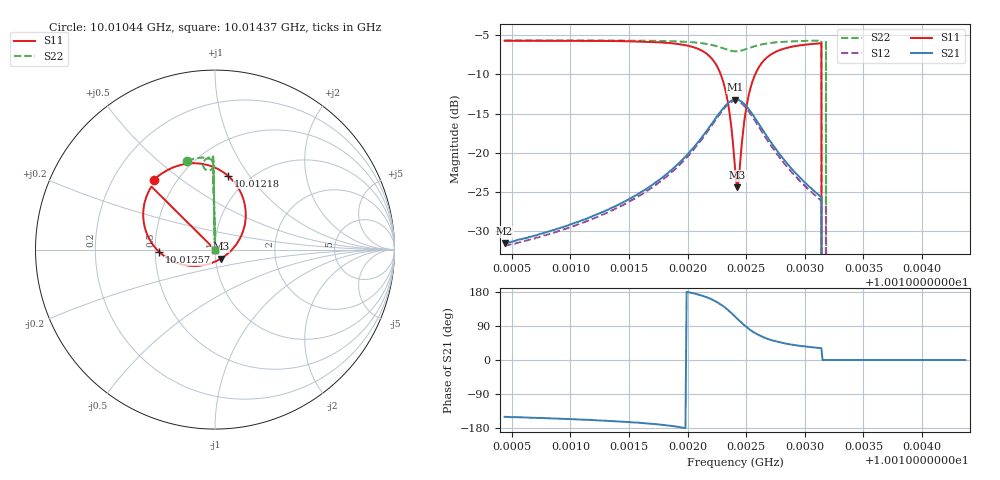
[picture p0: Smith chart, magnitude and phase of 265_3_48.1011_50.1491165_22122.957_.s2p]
#  HZ  S  RI  R  50.00
! Rohde & Schwarz Vector Network Analyzer
! Rohde-Schwarz,ZNB20-2Port,1311601062101988,3.16
! Created: UTC 12/23/2023, 4:01:12 AM
! freq[Hz]  re:S11  im:S11  re:S21  im:S21  re:S12  im:S12  re:S22  im:S22
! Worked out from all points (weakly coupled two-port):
!   401 points, 10.01044 GHz to 10.01437 GHz, reference 50 ohm
!   highest |S21| = -13.21 dB at 10.0124 GHz (marker M1); lowest = -31.5 dB at 10.01044 GHz (marker M2)
!   lowest |S11| = -24.4 dB at 10.01242 GHz (marker M3), VSWR 1.13, Z = 53.1 - j5.42 ohm
!   |S11| at or under -10 dB: 10.01228 GHz to 10.01258 GHz (294.5 kHz wide, 0.00294 % of centre); 10.01314 GHz to end of sweep
!   |S22| runs from - to -5.7 dB; largest |S21 - S12| = 0.047
!   S11 on the Smith chart (normalised r, x): 10.01044 GHz: 0.38, +0.40; 10.01218 GHz: 0.80, +0.80; 10.01257 GHz: 0.53, -0.02; 10.01437 GHz: 1.00, +0.00
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1.0010439e10  -0.3408 0.3897  -0.0229 -0.0134  -0.0213 -0.0139  -0.155 0.4957
1.0011098e10  -0.2838 0.432  -0.0343 -0.0142  -0.0322 -0.0154  -0.1107 0.5074
1.0011756e10  -0.1695 0.4764  -0.0661 -0.0115  -0.0632 -0.0143  -0.0588 0.5127
1.0012031e10  -0.048 0.473  -0.1039 0.00475  -0.1004 -0.000779  -0.0302 0.5061
1.0012179e10  0.0712 0.4121  -0.1374 0.0401  -0.1358 0.0316  -0.0124 0.4915
1.0012316e10  0.1713 0.1984  -0.1493 0.1288  -0.152 0.1199  -0.00874 0.4595
1.0012365e10  0.1451 0.0745  -0.1256 0.172  -0.1306 0.1631  -0.0187 0.447
1.0012405e10  0.0788 -0.0162  -0.0913 0.1985  -0.0962 0.1913  -0.0316 0.4417
1.0012424e10  0.0324 -0.0508  -0.0707 0.2062  -0.0754 0.1993  -0.0385 0.4415
1.0012444e10  -0.02 -0.0753  -0.0495 0.2099  -0.0542 0.2034  -0.0455 0.4427
1.0012503e10  -0.1796 -0.0837  0.0109 0.1973  0.00528 0.1913  -0.0611 0.4547
1.0012572e10  -0.3094 -0.0141  0.0525 0.1595  0.0456 0.1547  -0.0667 0.473
1.0012729e10  -0.3983 0.1645  0.07 0.0873  0.0637 0.0857  -0.0544 0.5003
1.0013063e10  -0.3656 0.3315  0.0489 0.0323  0.0449 0.033  -0.0203 0.5173
1.0013122e10  -0.3572 0.3465  0.0457 0.0282  0.0419 0.0289  -0.015 0.5184
1.0013151e10  0 0  0 0  0 0  0 0
1.0013161e10  0 0  0 0  0 0  0 0
1.0013171e10  0 0  0 0  0 0  0 0
1.0013201e10  0 0  0 0  0 0  0 0
1.001321e10  0 0  0 0  0 0  0 0
1.0013721e10  0 0  0 0  0 0  0 0
1.001437e10  0 0  0 0  0 0  0 0
